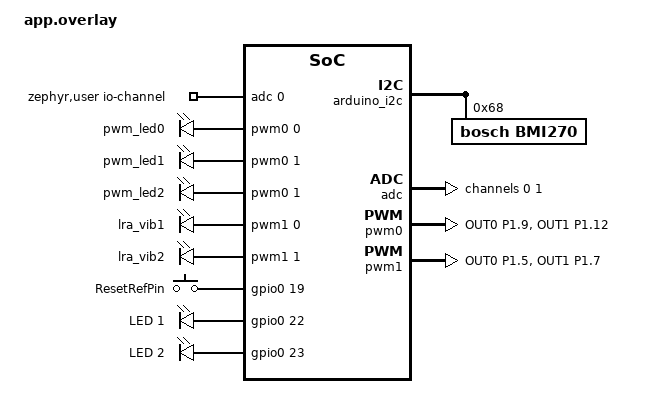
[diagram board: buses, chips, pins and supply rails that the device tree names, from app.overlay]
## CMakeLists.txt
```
#
# Copyright (c) 2021 Bosch Sensortec GmbH
#
# SPDX-License-Identifier: Apache-2.0
#

cmake_minimum_required(VERSION 3.20.0)
find_package(Zephyr REQUIRED HINTS $ENV{ZEPHYR_BASE})
project(test)

FILE(GLOB app_sources src/*.c)
target_sources(app PRIVATE ${app_sources})
```

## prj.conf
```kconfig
CONFIG_STDOUT_CONSOLE=y
CONFIG_I2C=y
CONFIG_SENSOR=y
CONFIG_PWM=y
CONFIG_LOG=y
CONFIG_PWM_LOG_LEVEL_DBG=y
CONFIG_LOG_PRINTK=y
CONFIG_LOG_MODE_IMMEDIATE=y
CONFIG_STDOUT_CONSOLE=y
CONFIG_PRINTK=y
CONFIG_ADC=y

# PWM and LED configurations
CONFIG_PWM=y
CONFIG_LED=y
CONFIG_LED_PWM=y

# DK Buttons and LEDs library
CONFIG_DK_LIBRARY=y

# RTT configuration for logging
CONFIG_USE_SEGGER_RTT=y
CONFIG_LOG_BACKEND_RTT=y
CONFIG_UART_CONSOLE=n
CONFIG_CONSOLE=y
CONFIG_CONSOLE_SUBSYS=y
CONFIG_RTT_CONSOLE=y

# Enable BMI270 sensor driver
CONFIG_BMI270=y
CONFIG_BMI270_TRIGGER_NONE=y
```

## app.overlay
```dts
/*
    * Copyright (c) 2021 Bosch Sensortec GmbH
    *
    * SPDX-License-Identifier: Apache-2.0
    */

	&arduino_i2c {
		status = "okay";
		zephyr,concat-buf-size = <257>;
		bmi270@68 {
			compatible = "bosch,bmi270";
			reg = <0x68>;
		};
	};
 /* STEP 2.2 - Create a zephyr,user node and set it's io-channels to the ADC channels  */
/ {
	zephyr,user {
		io-channels = <&adc 0>;
	};
};

/* STEP 2.3 -Configure the ADC channels  */
&adc {
	#address-cells = <1>;
	#size-cells = <0>;
	status = "okay";
	channel@0 {
		reg = <0>;
		zephyr,gain = "ADC_GAIN_1_6";
		zephyr,reference = "ADC_REF_INTERNAL";
		zephyr,acquisition-time = <ADC_ACQ_TIME_DEFAULT>;
		zephyr,input-positive = <NRF_SAADC_AIN0>; /* P0.04 for nRF5340 */
		zephyr,resolution = <12>;
	};
	channel@1 {
		reg = <1>;
		zephyr,gain = "ADC_GAIN_1_6";
		zephyr,reference = "ADC_REF_INTERNAL";
		zephyr,acquisition-time = <ADC_ACQ_TIME_DEFAULT>;
		zephyr,input-positive = <NRF_SAADC_AIN4>; /* P0.05 for nRF5340 */
		zephyr,resolution = <12>;
	};
};



/* STEP 1.2 -  Add pwm_led instances and change the polarity */
/{
    pwmleds {
        compatible = "pwm-leds";
        pwm_led0: pwm_led_0 {
            pwms = <&pwm0 0 PWM_MSEC(10) PWM_POLARITY_NORMAL>;
        };
        pwm_led1: pwm_led_1 {
            pwms = <&pwm0 1 PWM_MSEC(10) PWM_POLARITY_NORMAL>;
        };
        pwm_led2: pwm_led_2 {
            pwms = <&pwm0 1 PWM_MSEC(10) PWM_POLARITY_NORMAL>; /* P1.12 for second Peltier */
        };
    };
    
    /* LRA震动模块配置 */
    lra_vibrators {
        compatible = "pwm-leds";
        lra_vib1: lra_vibrator_1 {
            pwms = <&pwm1 0 PWM_MSEC(10) PWM_POLARITY_NORMAL>;
        };
        lra_vib2: lra_vibrator_2 {
            pwms = <&pwm1 1 PWM_MSEC(10) PWM_POLARITY_NORMAL>;
        };
    };
    
    /* 添加别名定义 */
    aliases {
        lra-vib1 = &lra_vib1;
        lra-vib2 = &lra_vib2;
    };
};


/* STEP 1.3 - Add your own custom pwm0 instance */
&pwm0 {
    status = "okay";
    pinctrl-0 = <&pwm0_custom>;
    pinctrl-1 = <&pwm0_csleep>;
    pinctrl-names = "default", "sleep";
};

/* PWM1配置用于LRA震动模块 */
&pwm1 {
    status = "okay";
    pinctrl-0 = <&pwm1_custom>;
    pinctrl-1 = <&pwm1_csleep>;
    pinctrl-names = "default", "sleep";
};

/* STEP 1.4 - Configure which pins your custom pwm0 instance should use */
&pinctrl {
    pwm0_custom: pwm0_custom {
        group1 {
            psels = <NRF_PSEL(PWM_OUT0, 1, 9)>;
            nordic,invert;
        };
        group2 {
            psels = <NRF_PSEL(PWM_OUT1, 1, 12)>;
            nordic,invert;
        };
    };

    pwm0_csleep: pwm0_csleep {
        group1 {
            psels = <NRF_PSEL(PWM_OUT0, 1, 9)>;
            low-power-enable;
        };
        group2 {
            psels = <NRF_PSEL(PWM_OUT1, 1, 12)>;
            low-power-enable;
        };
    };
    
    /* PWM1引脚配置 - LRA震动模块 */
    pwm1_custom: pwm1_custom {
        group1 {
            psels = <NRF_PSEL(PWM_OUT0, 1, 5)>;  /* P1.05 */
            nordic,invert;
        };
        group2 {
            psels = <NRF_PSEL(PWM_OUT1, 1, 7)>;  /* P1.07 */
            nordic,invert;
        };
    };

    pwm1_csleep: pwm1_csleep {
        group1 {
            psels = <NRF_PSEL(PWM_OUT0, 1, 5)>;  /* P1.05 */
            low-power-enable;
        };
        group2 {
            psels = <NRF_PSEL(PWM_OUT1, 1, 7)>;  /* P1.07 */
            low-power-enable;
        };
    };
};
/ {
    buttons {
        compatible = "gpio-keys";

        reset_ref: reset_ref {
            /* turns to the actual PIN - P0.19 (C3) */
            gpios = <&gpio0 19 (GPIO_ACTIVE_HIGH | GPIO_PULL_DOWN)>;
            label = "ResetRefPin";
        };
    };

    aliases {
        reset-sw = &reset_ref;
        led1 = &led1;
        led2 = &led2;
        pwm-led0 = &pwm_led0;
        pwm-led1 = &pwm_led1;
        pwm-led2 = &pwm_led2;
    };
};

/* LED Configuration */
/ {
    leds {
        compatible = "gpio-leds";
        led1: led_1 {
            gpios = <&gpio0 22 GPIO_ACTIVE_HIGH>;
            label = "LED 1";
        };
        led2: led_2 {
            gpios = <&gpio0 23 GPIO_ACTIVE_HIGH>;
            label = "LED 2";
        };
    };
};


/* STEP 4.1 - Configure pwm0 to drive the GPIO pin for LED 1 */


/* STEP 5.2 - Add the servo device */


/* STEP 5.3 - Configure which pins pwm1 should use */
```

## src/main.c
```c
/*
 * Copyright (c) 2021 Bosch Sensortec GmbH
 *
 * SPDX-License-Identifier: Apache-2.0
 */

#include <zephyr/kernel.h>
#include <zephyr/device.h>
#include <zephyr/devicetree.h>
#include <zephyr/drivers/sensor.h>
#include <zephyr/drivers/gpio.h>
#include <zephyr/drivers/adc.h>
#include <zephyr/drivers/pwm.h>
#include <zephyr/logging/log.h>
#include <math.h>
#include <stdio.h>
#include <stdint.h>
#include <errno.h>

LOG_MODULE_REGISTER(imu_test, LOG_LEVEL_INF);

/* ===== Thermistor Configuration ===== */
#define VREF_MV       3000.0
#define R_FIXED_OHM   10000.0
#define R0_OHM        10000.0
#define BETA          3950.0
#define T0_K          298.15
#define TEMP_CUTOFF   45.0

/* ===== PWM Peltier Configuration ===== */
#define PWM_PERIOD_NS   PWM_MSEC(10)   /* 10ms period */
#define PELTIER_OFF_NS  0
#define PELTIER_ON_NS   5000000        /* 50% duty cycle */

/* ===== LRA Vibration Motor Configuration ===== */
#define LRA_OFF_NS      0
#define LRA_ON_NS       5000000        /* 50% duty cycle */

/* ===== Global Variables ===== */
static int16_t adc_buf;
static struct adc_sequence adc_seq = {
    .buffer = &adc_buf,
    .buffer_size = sizeof(adc_buf),
};
static const struct adc_dt_spec adc_channel = ADC_DT_SPEC_GET(DT_PATH(zephyr_user));

/* ===== Function Declarations ===== */
static int read_thermistor_mv(int *out_mv);
static double thermistor_temp_c_from_mv(int vout_mv);
static int set_peltier_pwm(uint32_t pulse_ns);
static int set_lra_pwm(uint32_t pulse_ns);

/* ===== Thermistor Reading Function ===== */
static int read_thermistor_mv(int *out_mv)
{
    int err = adc_read(adc_channel.dev, &adc_seq);
    if (err < 0) {
        LOG_ERR("adc_read failed (%d)", err);
        return err;
    }
    int mv = (int)adc_buf;
    err = adc_raw_to_millivolts_dt(&adc_channel, &mv);
    if (err < 0) {
        LOG_WRN("adc_raw_to_millivolts not supported; raw=%d", (int)adc_buf);
        return -ENOTSUP;
    }
    *out_mv = mv;
    return 0;
}

/* ===== Temperature Calculation Function ===== */
static double thermistor_temp_c_from_mv(int vout_mv)
{
    if (vout_mv <= 1) vout_mv = 1;
    if (vout_mv >= (int)VREF_MV - 1) vout_mv = (int)VREF_MV - 1;

    double v = (double)vout_mv;
    double r_therm = R_FIXED_OHM * v / (VREF_MV - v); 
    double inv_T = (1.0 / T0_K) + (1.0 / BETA) * log(r_therm / R0_OHM);
    double T_k = 1.0 / inv_T;
    return T_k - 273.15;
}

/* ===== PWM Control Function ===== */
static int set_peltier_pwm(uint32_t pulse_ns)
{
    /* First Peltier: Use pwm_led0 alias */
    const struct pwm_dt_spec pwm_peltier1 = PWM_DT_SPEC_GET(DT_ALIAS(pwm_led0));
    /* Second Peltier: Use pwm_led2 alias (P1.12) */
    const struct pwm_dt_spec pwm_peltier2 = PWM_DT_SPEC_GET(DT_ALIAS(pwm_led2));
    
    int err1 = pwm_set_dt(&pwm_peltier1, PWM_PERIOD_NS, pulse_ns);
    int err2 = pwm_set_dt(&pwm_peltier2, PWM_PERIOD_NS, pulse_ns);
    
    if (err1 < 0) {
        LOG_ERR("Peltier1 PWM set failed (%d)", err1);
        return err1;
    }
    if (err2 < 0) {
        LOG_ERR("Peltier2 PWM set failed (%d)", err2);
        return err2;
    }
    
    return 0;
}

/* ===== LRA Vibration Motor Control Function ===== */
static int set_lra_pwm(uint32_t pulse_ns)
{
    const struct pwm_dt_spec pwm_lra1 = PWM_DT_SPEC_GET(DT_NODELABEL(lra_vib1));
    const struct pwm_dt_spec pwm_lra2 = PWM_DT_SPEC_GET(DT_NODELABEL(lra_vib2));
    
    int err1 = pwm_set_dt(&pwm_lra1, PWM_PERIOD_NS, pulse_ns);
    int err2 = pwm_set_dt(&pwm_lra2, PWM_PERIOD_NS, pulse_ns);
    
    if (err1 < 0) {
        LOG_ERR("LRA1 PWM set failed (%d)", err1);
        return err1;
    }
    if (err2 < 0) {
        LOG_ERR("LRA2 PWM set failed (%d)", err2);
        return err2;
    }
    
    return 0;
}

int main(void)
{
        const struct device *const dev = DEVICE_DT_GET_ONE(bosch_bmi270);
        struct sensor_value acc[3], gyr[3];
        struct sensor_value full_scale, sampling_freq, oversampling;
        
        /* LED GPIO device and pins */
        const struct device *gpio_dev = DEVICE_DT_GET(DT_NODELABEL(gpio0));
        
        /* Check if GPIO device is ready */
        if (!device_is_ready(gpio_dev)) {
                LOG_ERR("GPIO device not ready");
                return 0;
        }
        
        /* Configure LED pins as outputs */
        gpio_pin_configure(gpio_dev, 22, GPIO_OUTPUT_ACTIVE | GPIO_ACTIVE_HIGH);
        gpio_pin_configure(gpio_dev, 23, GPIO_OUTPUT_ACTIVE | GPIO_ACTIVE_HIGH);
        
        LOG_INF("LEDs configured on P0.22 and P0.23");
        
        /* Initialize ADC for thermistor (P0.04) */
        if (!adc_is_ready_dt(&adc_channel)) {
                LOG_ERR("ADC device not ready");
                return 0;
        }
        
        int ret = adc_channel_setup_dt(&adc_channel);
        if (ret < 0) {
                LOG_ERR("adc_channel_setup failed (%d)", ret);
                return 0;
        }
        
        ret = adc_sequence_init_dt(&adc_channel, &adc_seq);
        if (ret < 0) {
                LOG_ERR("adc_sequence_init failed (%d)", ret);
                return 0;
        }
        
        LOG_INF("ADC configured for thermistor on P0.04, channel %d", adc_channel.channel_id);
        LOG_INF("ADC device: %s, resolution: %d bits", adc_channel.dev->name, adc_channel.resolution);
        
        /* Test ADC reading */
        int test_mv = 0;
        ret = read_thermistor_mv(&test_mv);
        if (ret == 0) {
                LOG_INF("Initial ADC test: raw=%d, mV=%d", (int)adc_buf, test_mv);
        } else {
                LOG_ERR("Initial ADC test failed: %d", ret);
        }
        
        /* Initialize PWM for Peltiers */
        const struct pwm_dt_spec pwm_peltier1 = PWM_DT_SPEC_GET(DT_ALIAS(pwm_led0));
        const struct pwm_dt_spec pwm_peltier2 = PWM_DT_SPEC_GET(DT_ALIAS(pwm_led2));
        if (!pwm_is_ready_dt(&pwm_peltier1)) {
                LOG_ERR("Peltier1 PWM device not ready");
                return 0;
        }
        if (!pwm_is_ready_dt(&pwm_peltier2)) {
                LOG_ERR("Peltier2 PWM device not ready");
                return 0;
        }
        
        /* Disable Peltiers initially */
        set_peltier_pwm(PELTIER_OFF_NS);
        LOG_INF("PWM configured for Peltiers: P1.09 (Peltier1) and P1.12 (Peltier2)");
 
        if (!device_is_ready(dev)) {
                LOG_ERR("Device %s is not ready", dev->name);
                return 0;
        }

        LOG_INF("Device %p name is %s", dev, dev->name);
 
         /* Setting scale in G, due to loss of precision if the SI unit m/s^2
          * is used
          */
         full_scale.val1 = 2;            /* G */
         full_scale.val2 = 0;
         sampling_freq.val1 = 100;       /* Hz. Performance mode */
         sampling_freq.val2 = 0;
         oversampling.val1 = 1;          /* Normal mode */
         oversampling.val2 = 0;
 
        int rc;
        rc = sensor_attr_set(dev, SENSOR_CHAN_ACCEL_XYZ, SENSOR_ATTR_FULL_SCALE, &full_scale);
        if (rc) { LOG_ERR("Accel FULL_SCALE set failed (%d)", rc); }
        rc = sensor_attr_set(dev, SENSOR_CHAN_ACCEL_XYZ, SENSOR_ATTR_OVERSAMPLING, &oversampling);
        if (rc) { LOG_ERR("Accel OVERSAMPLING set failed (%d)", rc); }
         /* Set sampling frequency last as this also sets the appropriate
          * power mode. If already sampling, change to 0.0Hz before changing
          * other attributes
          */
        rc = sensor_attr_set(dev, SENSOR_CHAN_ACCEL_XYZ, SENSOR_ATTR_SAMPLING_FREQUENCY, &sampling_freq);
        if (rc) { LOG_ERR("Accel SAMPLING_FREQUENCY set failed (%d)", rc); }
 
 
         /* Setting scale in degrees/s to match the sensor scale */
         full_scale.val1 = 500;          /* dps */
         full_scale.val2 = 0;
         sampling_freq.val1 = 100;       /* Hz. Performance mode */
         sampling_freq.val2 = 0;
         oversampling.val1 = 1;          /* Normal mode */
         oversampling.val2 = 0;
 
        rc = sensor_attr_set(dev, SENSOR_CHAN_GYRO_XYZ, SENSOR_ATTR_FULL_SCALE, &full_scale);
        if (rc) { LOG_ERR("Gyro FULL_SCALE set failed (%d)", rc); }
        rc = sensor_attr_set(dev, SENSOR_CHAN_GYRO_XYZ, SENSOR_ATTR_OVERSAMPLING, &oversampling);
        if (rc) { LOG_ERR("Gyro OVERSAMPLING set failed (%d)", rc); }
         /* Set sampling frequency last as this also sets the appropriate
          * power mode. If already sampling, change sampling frequency to
          * 0.0Hz before changing other attributes
          */
        rc = sensor_attr_set(dev, SENSOR_CHAN_GYRO_XYZ, SENSOR_ATTR_SAMPLING_FREQUENCY, &sampling_freq);
        if (rc) { LOG_ERR("Gyro SAMPLING_FREQUENCY set failed (%d)", rc); }
 
        while (1) {
                /* 100ms period for better temperature monitoring */
                k_sleep(K_MSEC(100));

                rc = sensor_sample_fetch(dev);
                if (rc) {
                        LOG_ERR("sensor_sample_fetch failed (%d)", rc);
                        continue;
                }

                rc = sensor_channel_get(dev, SENSOR_CHAN_ACCEL_XYZ, acc);
                if (rc) { LOG_ERR("ACCEL_XYZ read failed (%d)", rc); }
                rc = sensor_channel_get(dev, SENSOR_CHAN_GYRO_XYZ, gyr);
                if (rc) { LOG_ERR("GYRO_XYZ read failed (%d)", rc); }

                /* Convert X acceleration to m/s^2 for comparison */
                double ax_ms2 = sensor_value_to_double(&acc[0]);
                
                /* Read temperature from thermistor */
                int mv = 0;
                double temp_c = NAN;
                ret = read_thermistor_mv(&mv);
                if (ret == 0) {
                        temp_c = thermistor_temp_c_from_mv(mv);
                }
                
                /* Control LEDs, Peltier, and LRA based on X acceleration and temperature */
                bool led_on = false;
                uint32_t peltier_ns = PELTIER_OFF_NS;
                uint32_t lra_ns = LRA_OFF_NS;
                
                if (ax_ms2 < 5.0) {
                        /* X acceleration < 5 m/s^2: turn on LEDs and LRA */
                        led_on = true;
                        gpio_pin_set(gpio_dev, 22, 1);
                        gpio_pin_set(gpio_dev, 23, 1);
                        lra_ns = LRA_ON_NS;  /* LRA vibration motor ON */
                        
                        /* Check temperature protection for Peltier */
                        if (!isnan(temp_c) && temp_c > TEMP_CUTOFF) {
                                peltier_ns = PELTIER_OFF_NS;
                                LOG_WRN("Temperature protection: %.1f°C >= %.1f°C -> Peltier OFF", 
                                        temp_c, TEMP_CUTOFF);
                        } else {
                                peltier_ns = PELTIER_ON_NS;
                                if (!isnan(temp_c)) {
                                        LOG_INF("Peltier ON (Temp=%.1f°C)", temp_c);
                                } else {
                                        LOG_INF("Peltier ON (Temp=N/A)");
                                }
                        }
                } else {
                        /* X acceleration >= 5 m/s^2: turn off LEDs, Peltier, and LRA */
                        led_on = false;
                        peltier_ns = PELTIER_OFF_NS;
                        lra_ns = LRA_OFF_NS;  /* LRA vibration motor OFF */
                        gpio_pin_set(gpio_dev, 22, 0);
                        gpio_pin_set(gpio_dev, 23, 0);
                }
                
                /* Set Peltier PWM */
                set_peltier_pwm(peltier_ns);
                
                /* Set LRA PWM */
                set_lra_pwm(lra_ns);

                /* printf output like reference code */
                printf("AX: %d.%06d AY: %d.%06d AZ: %d.%06d  "
                       "GX: %d.%06d GY: %d.%06d GZ: %d.%06d  ",
                       acc[0].val1, acc[0].val2, acc[1].val1, acc[1].val2, acc[2].val1, acc[2].val2,
                       gyr[0].val1, gyr[0].val2, gyr[1].val1, gyr[1].val2, gyr[2].val1, gyr[2].val2);

                if (ret == 0)      printf("[Therm=%dmV, %.1fC] ", mv, temp_c);
                printf("[LED=%s, Peltier=%s, LRA=%s]\n",
                       led_on ? "ON" : "OFF",
                       (peltier_ns == PELTIER_OFF_NS) ? "OFF" : "ON(50%)",
                       (lra_ns == LRA_OFF_NS) ? "OFF" : "ON(50%)");
        }
         return 0;
 }
```
